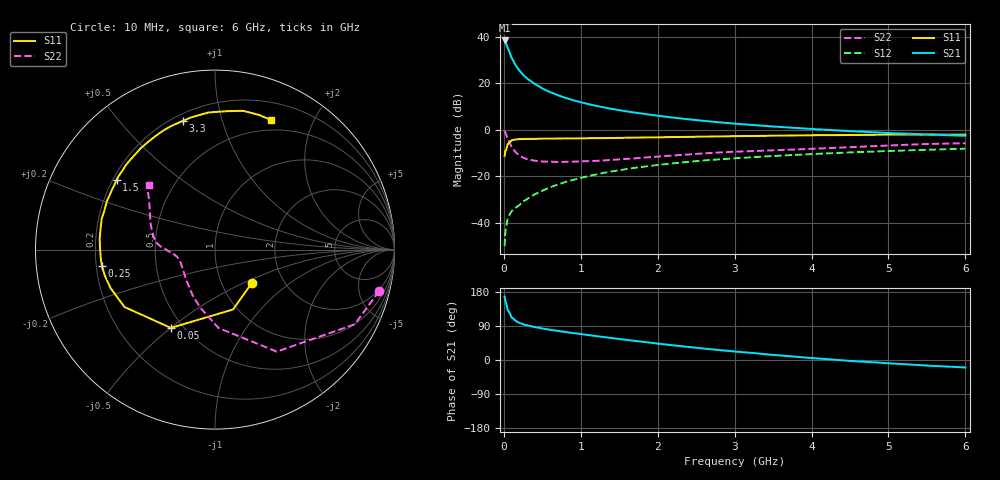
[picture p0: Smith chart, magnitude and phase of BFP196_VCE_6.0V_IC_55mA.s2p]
! Infineon Technologies  Discrete & RF Semiconductors
! BFP196
! VCE =  6.0 V,  IC =  55 mA
! Common Emitter S-Parameters:  Jan 2017
# GHz  S  MA  R  50
!  f  S11  S21  S12  S22
! GHz  MAG  ANG  MAG  ANG  MAG  ANG  MAG  ANG
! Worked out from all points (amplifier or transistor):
!   77 points, 10 MHz to 6 GHz, reference 50 ohm
!   highest |S21| = 38.3 dB at 10 MHz (marker M1)
!   |S21| within 3 dB of that: start of sweep to 47.5 MHz
!   unconditionally stable (mu >= 1): 502 MHz to 2.432 GHz
!   at 130 MHz: K = 0.63, MSG = 31.6 dB, |S12| = -34.1 dB
!   at 2.2 GHz: K = 1.01, MAG = 9.3 dB, |S12| = -14.4 dB
!   at 6 GHz: K = 0.95, MSG = 2.8 dB, |S12| = -8.1 dB
!   S11 on the Smith chart (normalised r, x): 10 MHz: 1.39, -0.56; 50 MHz: 0.43, -0.50; 250 MHz: 0.22, -0.07; 1.5 GHz: 0.22, +0.31; 3.3 GHz: 0.24, +0.75; 6 GHz: 0.38, +1.45
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0.01  0.277 -42.0  82.33 167.2  0.0032 81.5  0.9432 -14.2
0.02  0.3483 -73.2  78.37 155.9  0.0066 76.1  0.8829 -28.1
0.05  0.5009 -119.4  56.9 131.4  0.0125 56.2  0.6646 -58.8
0.1  0.5971 -147.6  35.19 112.4  0.0179 54.7  0.4374 -87.4
0.15  0.6203 -159.8  24.59 103.7  0.0211 55.0  0.3339 -104.2
0.2  0.6308 -166.7  18.81 98.2  0.0242 58.0  0.2835 -116.1
0.25  0.6366 -171.8  15.16 94.2  0.0291 60.0  0.253 -124.7
0.3  0.6382 -175.3  12.7 91.5  0.0325 62.6  0.2354 -132.1
0.4  0.6409 179.2  9.621 86.8  0.0412 65.5  0.2176 -141.9
0.5  0.6451 174.7  7.706 83.1  0.0493 66.6  0.2091 -148.8
0.6  0.6472 171.0  6.456 79.8  0.0586 66.4  0.207 -154.2
0.7  0.65 167.9  5.536 76.9  0.0666 67.3  0.2043 -158.3
0.9  0.653 161.5  4.313 71.1  0.0844 66.1  0.2073 -163.7
1.1  0.6601 155.6  3.556 65.8  0.1021 64.3  0.213 -167.9
1.5  0.6719 144.6  2.633 55.6  0.1356 59.9  0.2321 -173.9
2.1  0.6942 128.9  1.913 41.1  0.1833 51.8  0.2737 179.9
2.6  0.7144 117.6  1.556 30.2  0.2198 45.0  0.3128 175.5
3.1  0.7326 107.6  1.318 20.8  0.2505 38.4  0.3437 169.6
3.3  0.739 104.0  1.245 17.3  0.2622 35.9  0.3532 166.9
4.1  0.7656 91.2  1.021 3.7  0.3065 26.2  0.3971 155.2
5.1  0.7882 77.3  0.841 -9.8  0.3558 14.5  0.4678 142.0
6  0.7868 66.6  0.744 -19.8  0.3934 4.5  0.5143 135.2
